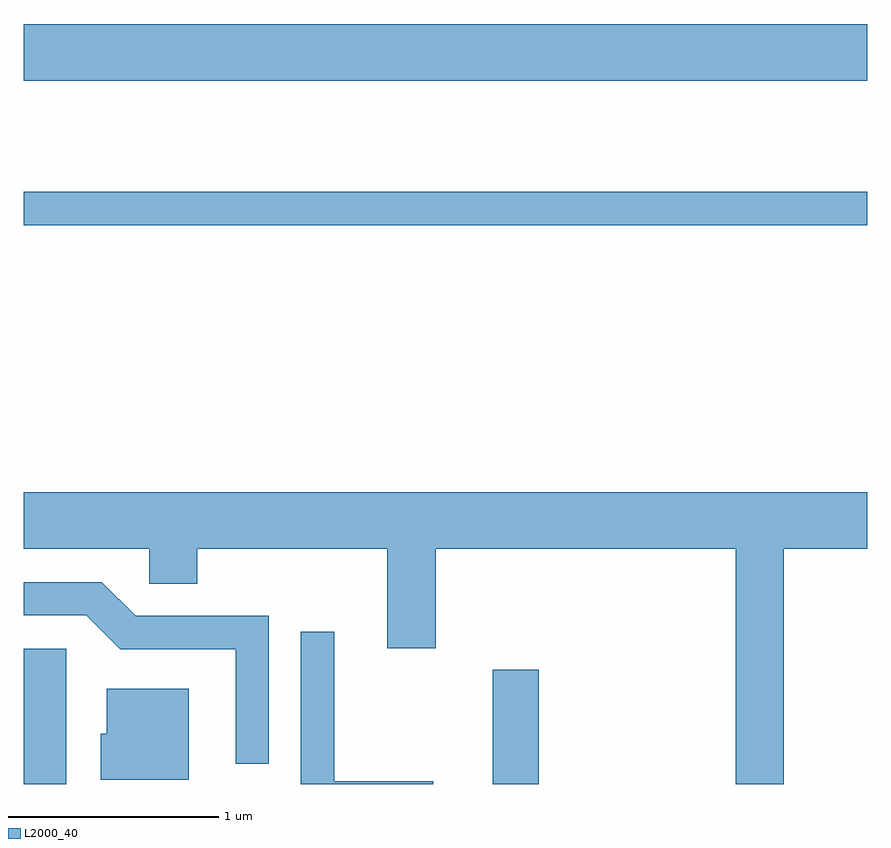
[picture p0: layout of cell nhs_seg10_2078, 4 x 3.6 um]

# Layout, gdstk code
import gdstk
lib = gdstk.Library(unit=1e-6, precision=1e-09)
def R(c, l, rs):  # rectangles x0, y0, x1, y1
    for r in rs: c.add(gdstk.rectangle(r[:2], r[2:], *l))
def P(c, l, *ps):  # polygons
    for p in ps: c.add(gdstk.Polygon(p, *l))
L2000_40 = (2000, 40)

nhs_seg10_2078 = lib.new_cell('nhs_seg10_2078')
R(nhs_seg10_2078, L2000_40, [(245.611,2170.522,245.814,2171.164), (247.836,2170.522,248.054,2171.064), (245.611,2173.171,249.611,2173.329), (245.611,2173.856,249.611,2174.124)])
P(nhs_seg10_2078, L2000_40, [(249.214,2171.636),(249.611,2171.636),(249.611,2171.904),(245.611,2171.904),(245.611,2171.636),(246.206,2171.636),(246.206,2171.471),(246.434,2171.471),(246.434,2171.636),(247.336,2171.636),(247.336,2171.166),(247.564,2171.166),(247.564,2171.636),(248.986,2171.636),(248.986,2170.522),(249.214,2170.522)],
  [(246.774,2171.319),(246.142,2171.319),(245.982,2171.479),(245.611,2171.479),(245.611,2171.321),(245.909,2171.321),(246.069,2171.161),(246.616,2171.161),(246.616,2170.618),(246.774,2170.618)],
  [(247.554,2170.534),(247.084,2170.534),(247.084,2171.243),(246.926,2171.243),(246.926,2170.522),(247.554,2170.522)],
  [(246.394,2170.974),(246.006,2170.974),(246.006,2170.759),(245.976,2170.759),(245.976,2170.541),(246.394,2170.541)])

lib.write_gds('nhs_seg10_2078.gds')
